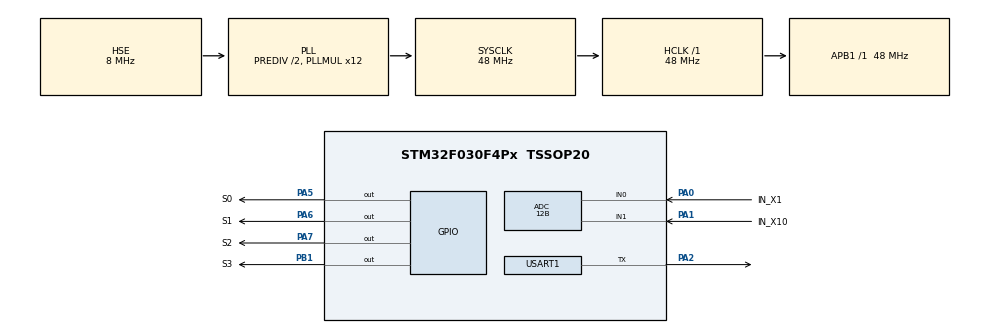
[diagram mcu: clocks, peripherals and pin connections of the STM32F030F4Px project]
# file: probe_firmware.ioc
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ADC.ClockPrescaler=ADC_CLOCK_ASYNC_DIV1
ADC.ContinuousConvMode=ENABLE
ADC.DMAContinuousRequests=DISABLE
ADC.DataAlign=ADC_DATAALIGN_RIGHT
ADC.DiscontinuousConvMode=DISABLE
ADC.EOCSelection=ADC_EOC_SINGLE_CONV
ADC.EnableAnalogWatchDog=false
ADC.ExternalTrigConv=ADC_SOFTWARE_START
ADC.ExternalTrigConvEdge=ADC_EXTERNALTRIGCONVEDGE_NONE
ADC.LowPowerAutoPowerOff=DISABLE
ADC.LowPowerAutoWait=DISABLE
ADC.Overrun=ADC_OVR_DATA_PRESERVED
ADC.Resolution=ADC_RESOLUTION_12B
ADC.SamplingTime=ADC_SAMPLETIME_1CYCLE_5
ADC.ScanConvMode=ADC_SCAN_DIRECTION_FORWARD
Mcu.Family=STM32F0
Mcu.Name=STM32F030F4Px
Mcu.Package=TSSOP20
NVIC.ADC1_IRQn=true\:0\:0\:false\:false\:true\:true
NVIC.USART1_IRQn=true\:0\:0\:false\:false\:true\:true
PA0.GPIO_Label=IN_X1
PA0.Mode=IN0
PA0.Signal=ADC_IN0
PA1.GPIO_Label=IN_X10
PA1.Mode=IN1
PA1.Signal=ADC_IN1
PA13.Mode=Serial_Wire
PA13.Signal=SYS_SWDIO
PA14.Mode=Serial_Wire
PA14.Signal=SYS_SWCLK
PA2.GPIO_ModeDefaultOD=GPIO_MODE_AF_PP
PA2.Mode=Half_duplex(single_wire_mode)
PA2.Signal=USART1_TX
PA5.GPIO_Label=S0
PA5.Signal=GPIO_Output
PA6.GPIO_Label=S1
PA6.Signal=GPIO_Output
PA7.GPIO_Label=S2
PA7.Signal=GPIO_Output
PB1.GPIO_Label=S3
PB1.Signal=GPIO_Output
PF0-OSC_IN.Mode=HSE-External-Oscillator
PF0-OSC_IN.Signal=RCC_OSC_IN
PF1-OSC_OUT.Mode=HSE-External-Oscillator
PF1-OSC_OUT.Signal=RCC_OSC_OUT
ProjectManager.HeapSize=0x200
ProjectManager.StackSize=0x400
ProjectManager.TargetToolchain=Makefile
RCC.AHBFreq_Value=48000000
RCC.APB1Freq_Value=48000000
RCC.APB1TimFreq_Value=48000000
RCC.HCLKFreq_Value=48000000
RCC.PLLDivider=RCC_PREDIV_DIV2
RCC.PLLMUL=RCC_PLL_MUL12
RCC.PLLSourceVirtual=RCC_PLLSOURCE_HSE
RCC.SYSCLKFreq_VALUE=48000000
RCC.SYSCLKSource=RCC_SYSCLKSOURCE_PLLCLK
TIM17.AutoReloadPreload=TIM_AUTORELOAD_PRELOAD_DISABLE
TIM17.Period=65535
USART1.BaudRate=2000000
USART1.DataInvertParam=ADVFEATURE_DATAINV_DISABLE
USART1.Mode=MODE_TX
USART1.TxPinLevelInvertParam=ADVFEATURE_TXINV_ENABLE
USART1.VirtualMode-Half_duplex(single_wire_mode)=VM_ASYNC
VP_TIM17_VS_ClockSourceINT.Mode=Enable_Timer
board=probe_firmware

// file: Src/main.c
/**
  ******************************************************************************
  * @file           : main.c
  * @brief          : Main program body
  ******************************************************************************
  ** This notice applies to any and all portions of this file
  * that are not between comment pairs USER CODE BEGIN and
  * USER CODE END. Other portions of this file, whether
  * inserted by the user or by software development tools
  * are owned by their respective copyright owners.
  *
  * COPYRIGHT(c) 2019 STMicroelectronics
  *
  * Redistribution and use in source and binary forms, with or without modification,
  * are permitted provided that the following conditions are met:
  *   1. Redistributions of source code must retain the above copyright notice,
  *      this list of conditions and the following disclaimer.
  *   2. Redistributions in binary form must reproduce the above copyright notice,
  *      this list of conditions and the following disclaimer in the documentation
  *      and/or other materials provided with the distribution.
  *   3. Neither the name of STMicroelectronics nor the names of its contributors
  *      may be used to endorse or promote products derived from this software
  *      without specific prior written permission.
  *
  * THIS SOFTWARE IS PROVIDED BY THE COPYRIGHT HOLDERS AND CONTRIBUTORS "AS IS"
  * AND ANY EXPRESS OR IMPLIED WARRANTIES, INCLUDING, BUT NOT LIMITED TO, THE
  * IMPLIED WARRANTIES OF MERCHANTABILITY AND FITNESS FOR A PARTICULAR PURPOSE ARE
  * DISCLAIMED. IN NO EVENT SHALL THE COPYRIGHT HOLDER OR CONTRIBUTORS BE LIABLE
  * FOR ANY DIRECT, INDIRECT, INCIDENTAL, SPECIAL, EXEMPLARY, OR CONSEQUENTIAL
  * DAMAGES (INCLUDING, BUT NOT LIMITED TO, PROCUREMENT OF SUBSTITUTE GOODS OR
  * SERVICES; LOSS OF USE, DATA, OR PROFITS; OR BUSINESS INTERRUPTION) HOWEVER
  * CAUSED AND ON ANY THEORY OF LIABILITY, WHETHER IN CONTRACT, STRICT LIABILITY,
  * OR TORT (INCLUDING NEGLIGENCE OR OTHERWISE) ARISING IN ANY WAY OUT OF THE USE
  * OF THIS SOFTWARE, EVEN IF ADVISED OF THE POSSIBILITY OF SUCH DAMAGE.
  *
  ******************************************************************************
  */
#include "main.h"
#include "stm32f0xx_hal.h"

/* USER CODE BEGIN Includes */
#include "tim_defines.h"

/* USER CODE END Includes */

ADC_HandleTypeDef hadc;

TIM_HandleTypeDef htim17;

UART_HandleTypeDef huart1;

/* USER CODE BEGIN PV */

#ifdef __GNUC__
#define PUTCHAR_PROTOTYPE int __io_putchar(int ch)
#else
#define PUTCHAR_PROTOTYPE int fputc(int ch, FILE *f)
#endif /* __GNUC__ */

PUTCHAR_PROTOTYPE
{
HAL_UART_Transmit(&huart1, (uint8_t *)&ch, 1, 0xFFFF);

return ch;
}
/////////////////////////////////////////////////
//Settings

#define CHANNELS 16
#define ID 1 //must be < 256 and > 0 or else line termination will break
            // A maximum of 4080 channels!

#define SCALE_THRESHOLD 150

/////////////////////////////////////////////////
//Board calibration factors
/////////////////////////////////////////////////
#define PACKET_LENGTH (CHANNELS*2)+1+1+4 //channels + checksum + id + terminator
#define ID_INDEX (CHANNELS*2)+1
#define CHECKSUM_INDEX ID_INDEX+1
#define TERMINATOR_INDEX_1 CHECKSUM_INDEX+1
#define TERMINATOR_INDEX_2 CHECKSUM_INDEX+2
#define TERMINATOR_INDEX_3 CHECKSUM_INDEX+3
uint8_t tx_buffer[PACKET_LENGTH];
uint16_t channel_values[CHANNELS][2];//buffer1/2, channel number, ADC input x1/x10
float channel_calibration_factors[16];

uint8_t current_ADC_channel = 0; //0: x1, 1: x10
uint8_t current_input_buffer = 0;
uint8_t current_input_channel = 0;
uint8_t print_complete = 0;
uint8_t adc_complete = 0;

uint8_t channel_lookup_table[16] = {8,10,12,14,0,2,4,6,7,5,3,1,15,13,11,9};
uint8_t chan = 0;
/////////////////////////////////////////////////

/* Private variables ---------------------------------------------------------*/

/* USER CODE END PV */

void SystemClock_Config(void);
static void MX_GPIO_Init(void);
static void MX_ADC_Init(void);
static void MX_USART1_UART_Init(void);
static void MX_TIM17_Init(void);

/* USER CODE BEGIN PFP */
/* Private function prototypes -----------------------------------------------*/
void wait_cycles(uint32_t cycles){ //0.19 us per cycle
  volatile int cycle_counter = 0;
  for(cycle_counter = 0;cycle_counter<cycles;cycle_counter++){
  }
}

void switch_adc_channel(uint32_t channel){
  HAL_ADC_DeInit(&hadc);
  MX_ADC_Init();
  ADC_ChannelConfTypeDef sConfig;
  sConfig.Channel = channel;
  sConfig.Rank = ADC_RANK_CHANNEL_NUMBER;
  sConfig.SamplingTime = ADC_SAMPLETIME_1CYCLE_5;
  if (HAL_ADC_ConfigChannel(&hadc, &sConfig) != HAL_OK)
  {
    _Error_Handler(__FILE__, __LINE__);
  }
}
//
// //on the other side
void unsigned_to_buffer(uint16_t input,uint8_t index){
  tx_buffer[index] = input & 0xff;
  tx_buffer[index+1] = (input >> 8);
}

uint8_t chksum8(const uint8_t *buff, size_t len){
    unsigned int sum;
    for ( sum = 0 ; len != 0 ; len-- )
        sum += *(buff++);
    return (uint8_t)sum;
}

void faster_pin_write(GPIO_TypeDef* GPIOx, uint16_t GPIO_Pin, GPIO_PinState PinState)
{

  if (PinState != GPIO_PIN_RESET)
  {
    GPIOx->BSRR = (uint32_t)GPIO_Pin;
  }
  else
  {
    GPIOx->BRR = (uint32_t)GPIO_Pin;
  }
}

void select_mux_channel(uint8_t address){
    //ah darn! Why didn't I make the channels zero-indexed on the silkscreen?
    //That was tremendously stupid!
    //Let's let the convention be that all channel numbers are zero-indexed until they're graphed.
    uint8_t mux_channel = channel_lookup_table[address];
    faster_pin_write(S0_GPIO_Port, S0_Pin,(mux_channel >> 0) & 1U);
    faster_pin_write(S1_GPIO_Port, S1_Pin,(mux_channel >> 1) & 1U);
    faster_pin_write(S2_GPIO_Port, S2_Pin,(mux_channel >> 3) & 1U);
    faster_pin_write(S3_GPIO_Port, S3_Pin,(mux_channel >> 2) & 1U);
}

/* USER CODE END PFP */

/* USER CODE BEGIN 0 */
/**
* @brief This function handles ADC interrupt.
*/
// void HAL_ADC_ConvCpltCallback(ADC_HandleTypeDef* AdcHandle)
// {
//   //chan=!chan;
//   AdcHandle->Instance->DR;
// }
//

/* USER CODE END 0 */

int main(void)
{

  /* MCU Configuration----------------------------------------------------------*/

  /* Reset of all peripherals, Initializes the Flash interface and the Systick. */
  HAL_Init();

  /* Configure the system clock */
  SystemClock_Config();

  /* Initialize all configured peripherals */
  MX_GPIO_Init();
  MX_ADC_Init();
  MX_USART1_UART_Init();
  MX_TIM17_Init();

  /* Infinite loop */
  /* USER CODE BEGIN WHILE */
  //
  //switch_adc_channel(ADC_CHANNEL_0);
  //HAL_ADC_Start(&hadc);
  // HAL_NVIC_SetPriority(ADC1_IRQn, 0, 0);
  // HAL_NVIC_EnableIRQ(ADC1_IRQn);
  //HAL_ADC_Start_IT(&hadc);

  // switch_adc_channel(ADC_CHANNEL_0);
  //HAL_NVIC_SetPriority(ADC1_IRQn, 0, 0);
  //HAL_NVIC_EnableIRQ(ADC1_IRQn);
  //select_mux_channel(current_input_channel);
  HAL_ADC_Start(&hadc);
  TIM17->CR1 |= TIM_CR1_CEN;

  while (1){

    // //HAL_IWDG_Refresh(&hiwdg);

    for(int i = 0; i < 1 ; i++){
      for(int t = 0; t < PACKET_LENGTH; t++){
        tx_buffer[t] = 0;
      }

      switch_adc_channel(ADC_CHANNEL_0);
      HAL_ADC_Start(&hadc);
      for(int channel_number = 0; channel_number < CHANNELS; channel_number++){
        //this section must not take more than ~30 clock cycles.
        select_mux_channel(channel_number);

        //x1
        while(HAL_IS_BIT_CLR(((&hadc)->Instance->ISR), ADC_FLAG_EOS));
        //EOS = End of sample
        channel_values[channel_number][0] = (&hadc)->Instance->DR;
      }

      switch_adc_channel(ADC_CHANNEL_1);
      HAL_ADC_Start(&hadc);
      for(int channel_number = 0; channel_number < CHANNELS; channel_number++){
        //this section must not take more than ~30 clock cycles.
        select_mux_channel(channel_number);

        //x10
        while(HAL_IS_BIT_CLR(((&hadc)->Instance->ISR), ADC_FLAG_EOS));
        //EOS = End of sample
        channel_values[channel_number][1] = (&hadc)->Instance->DR;
      }

      //
      // //HAL_ADC_Stop(&hadc);
      //printf("\r\n%i,%i\r\n",channel_values[0][0],channel_values[0][1] );
      for(int channel_number = 0; channel_number < CHANNELS; channel_number++){
        //threshold x1 to check if we need to switch to x10
        if(channel_values[channel_number][1] > SCALE_THRESHOLD && channel_values[channel_number][1] < (4096-SCALE_THRESHOLD)){
          unsigned_to_buffer(channel_values[channel_number][1],channel_number*2);
          //set the 7th bit of the high byte to 1.
          tx_buffer[(channel_number*2)+1] |= 1UL << 6;
        }
        else{
          unsigned_to_buffer(channel_values[channel_number][0],channel_number*2);
        }
      }

      tx_buffer[CHECKSUM_INDEX] = chksum8(tx_buffer,CHECKSUM_INDEX);
      tx_buffer[TERMINATOR_INDEX_1] = 0xff;
      tx_buffer[TERMINATOR_INDEX_2] = 0x00;
      tx_buffer[TERMINATOR_INDEX_3] = 0xff;
      //wait for previous transmission to complete, then TX
      // TIM17->CNT = 0;

      //debug messages
      // for(int i =0 ; i < PACKET_LENGTH; i++){
      //   printf("%i,",tx_buffer[i]);
      // }
      // printf("\r\n");

      HAL_UART_Transmit(&huart1, (uint8_t *)&tx_buffer,PACKET_LENGTH,100);
      // printf("\r\n%i\r\n",TIM17->CNT);
    }

    // tx_buffer[INDEX_CHECKSUM] = chksum8(tx_buffer,NUMBER_OF_VALUES);
    // printf(TIM17->CNT);
    //HAL_ADC_Stop_IT(&hadc);
    //printf("D\r\n");
    //while(HAL_UART_Transmit(&huart1, (uint8_t *)&tx_buffer, PACKET_BYTE_COUNT) == HAL_BUSY);

  /* USER CODE END WHILE */

  }

}

void SystemClock_Config(void)
{

  RCC_OscInitTypeDef RCC_OscInitStruct;
  RCC_ClkInitTypeDef RCC_ClkInitStruct;
  RCC_PeriphCLKInitTypeDef PeriphClkInit;

    /**Initializes the CPU, AHB and APB busses clocks
    */
  RCC_OscInitStruct.OscillatorType = RCC_OSCILLATORTYPE_HSI14|RCC_OSCILLATORTYPE_HSE;
  RCC_OscInitStruct.HSEState = RCC_HSE_ON;
  RCC_OscInitStruct.HSI14State = RCC_HSI14_ON;
  RCC_OscInitStruct.HSI14CalibrationValue = 16;
  RCC_OscInitStruct.PLL.PLLState = RCC_PLL_ON;
  RCC_OscInitStruct.PLL.PLLSource = RCC_PLLSOURCE_HSE;
  RCC_OscInitStruct.PLL.PLLMUL = RCC_PLL_MUL12;
  RCC_OscInitStruct.PLL.PREDIV = RCC_PREDIV_DIV2;
  if (HAL_RCC_OscConfig(&RCC_OscInitStruct) != HAL_OK)
  {
    _Error_Handler(__FILE__, __LINE__);
  }

    /**Initializes the CPU, AHB and APB busses clocks
    */
  RCC_ClkInitStruct.ClockType = RCC_CLOCKTYPE_HCLK|RCC_CLOCKTYPE_SYSCLK
                              |RCC_CLOCKTYPE_PCLK1;
  RCC_ClkInitStruct.SYSCLKSource = RCC_SYSCLKSOURCE_PLLCLK;
  RCC_ClkInitStruct.AHBCLKDivider = RCC_SYSCLK_DIV1;
  RCC_ClkInitStruct.APB1CLKDivider = RCC_HCLK_DIV1;

  if (HAL_RCC_ClockConfig(&RCC_ClkInitStruct, FLASH_LATENCY_1) != HAL_OK)
  {
    _Error_Handler(__FILE__, __LINE__);
  }

  PeriphClkInit.PeriphClockSelection = RCC_PERIPHCLK_USART1;
  PeriphClkInit.Usart1ClockSelection = RCC_USART1CLKSOURCE_PCLK1;
  if (HAL_RCCEx_PeriphCLKConfig(&PeriphClkInit) != HAL_OK)
  {
    _Error_Handler(__FILE__, __LINE__);
  }

    /**Configure the Systick interrupt time
    */
  HAL_SYSTICK_Config(HAL_RCC_GetHCLKFreq()/1000);

    /**Configure the Systick
    */
  HAL_SYSTICK_CLKSourceConfig(SYSTICK_CLKSOURCE_HCLK);

  /* SysTick_IRQn interrupt configuration */
  HAL_NVIC_SetPriority(SysTick_IRQn, 0, 0);
}

/* ADC init function */
static void MX_ADC_Init(void)
{

  ADC_ChannelConfTypeDef sConfig;

    /**Configure the global features of the ADC (Clock, Resolution, Data Alignment and number of conversion)
    */
  hadc.Instance = ADC1;
  hadc.Init.ClockPrescaler = ADC_CLOCK_ASYNC_DIV1;
  hadc.Init.Resolution = ADC_RESOLUTION_12B;
  hadc.Init.DataAlign = ADC_DATAALIGN_RIGHT;
  hadc.Init.ScanConvMode = ADC_SCAN_DIRECTION_FORWARD;
  hadc.Init.EOCSelection = ADC_EOC_SINGLE_CONV;
  hadc.Init.LowPowerAutoWait = DISABLE;
  hadc.Init.LowPowerAutoPowerOff = DISABLE;
  hadc.Init.ContinuousConvMode = ENABLE;
  hadc.Init.DiscontinuousConvMode = DISABLE;
  hadc.Init.ExternalTrigConv = ADC_SOFTWARE_START;
  hadc.Init.ExternalTrigConvEdge = ADC_EXTERNALTRIGCONVEDGE_NONE;
  hadc.Init.DMAContinuousRequests = DISABLE;
  hadc.Init.Overrun = ADC_OVR_DATA_PRESERVED;
  if (HAL_ADC_Init(&hadc) != HAL_OK)
  {
    _Error_Handler(__FILE__, __LINE__);
  }

    /**Configure for the selected ADC regular channel to be converted.
    */
  // sConfig.Channel = ADC_CHANNEL_0;
  // sConfig.Rank = ADC_RANK_CHANNEL_NUMBER;
  // sConfig.SamplingTime = ADC_SAMPLETIME_1CYCLE_5;
  // if (HAL_ADC_ConfigChannel(&hadc, &sConfig) != HAL_OK)
  // {
  //   _Error_Handler(__FILE__, __LINE__);
  // }
  //
  //   /**Configure for the selected ADC regular channel to be converted.
  //   */
  // sConfig.Channel = ADC_CHANNEL_1;
  // if (HAL_ADC_ConfigChannel(&hadc, &sConfig) != HAL_OK)
  // {
  //   _Error_Handler(__FILE__, __LINE__);
  // }

}

/* TIM17 init function */
static void MX_TIM17_Init(void)
{

  htim17.Instance = TIM17;
  htim17.Init.Prescaler = 0;
  htim17.Init.CounterMode = TIM_COUNTERMODE_UP;
  htim17.Init.Period = 65535;
  htim17.Init.ClockDivision = TIM_CLOCKDIVISION_DIV1;
  htim17.Init.RepetitionCounter = 0;
  htim17.Init.AutoReloadPreload = TIM_AUTORELOAD_PRELOAD_DISABLE;
  if (HAL_TIM_Base_Init(&htim17) != HAL_OK)
  {
    _Error_Handler(__FILE__, __LINE__);
  }

}

/* USART1 init function */
static void MX_USART1_UART_Init(void)
{

  huart1.Instance = USART1;
  huart1.Init.BaudRate = 3000000;
  huart1.Init.WordLength = UART_WORDLENGTH_8B;
  huart1.Init.StopBits = UART_STOPBITS_1;
  huart1.Init.Parity = UART_PARITY_NONE;
  huart1.Init.Mode = UART_MODE_TX;
  huart1.Init.HwFlowCtl = UART_HWCONTROL_NONE;
  huart1.Init.OverSampling = UART_OVERSAMPLING_16;
  huart1.Init.OneBitSampling = UART_ONE_BIT_SAMPLE_DISABLE;
  huart1.AdvancedInit.AdvFeatureInit = UART_ADVFEATURE_TXINVERT_INIT;
  huart1.AdvancedInit.TxPinLevelInvert = UART_ADVFEATURE_TXINV_ENABLE;
  if (HAL_HalfDuplex_Init(&huart1) != HAL_OK)
  {
    _Error_Handler(__FILE__, __LINE__);
  }

}

/** Configure pins as
        * Analog
        * Input
        * Output
        * EVENT_OUT
        * EXTI
*/
static void MX_GPIO_Init(void)
{

  GPIO_InitTypeDef GPIO_InitStruct;

  /* GPIO Ports Clock Enable */
  __HAL_RCC_GPIOF_CLK_ENABLE();
  __HAL_RCC_GPIOA_CLK_ENABLE();
  __HAL_RCC_GPIOB_CLK_ENABLE();

  /*Configure GPIO pin Output Level */
  HAL_GPIO_WritePin(GPIOA, S0_Pin|S1_Pin|S2_Pin, GPIO_PIN_RESET);

  /*Configure GPIO pin Output Level */
  HAL_GPIO_WritePin(S3_GPIO_Port, S3_Pin, GPIO_PIN_RESET);

  /*Configure GPIO pins : S0_Pin S1_Pin S2_Pin */
  GPIO_InitStruct.Pin = S0_Pin|S1_Pin|S2_Pin;
  GPIO_InitStruct.Mode = GPIO_MODE_OUTPUT_PP;
  GPIO_InitStruct.Pull = GPIO_NOPULL;
  GPIO_InitStruct.Speed = GPIO_SPEED_FREQ_LOW;
  HAL_GPIO_Init(GPIOA, &GPIO_InitStruct);

  /*Configure GPIO pin : S3_Pin */
  GPIO_InitStruct.Pin = S3_Pin;
  GPIO_InitStruct.Mode = GPIO_MODE_OUTPUT_PP;
  GPIO_InitStruct.Pull = GPIO_NOPULL;
  GPIO_InitStruct.Speed = GPIO_SPEED_FREQ_LOW;
  HAL_GPIO_Init(S3_GPIO_Port, &GPIO_InitStruct);

}

void _Error_Handler(char *file, int line)
{
  /* USER CODE BEGIN Error_Handler_Debug */
  /* User can add his own implementation to report the HAL error return state */
  // while(1)
  // {
  printf("HAL ERROR: File: %s Line: %i",file,line);
  // }
  /* USER CODE END Error_Handler_Debug */
}

/************************ (C) COPYRIGHT STMicroelectronics *****END OF FILE****/
